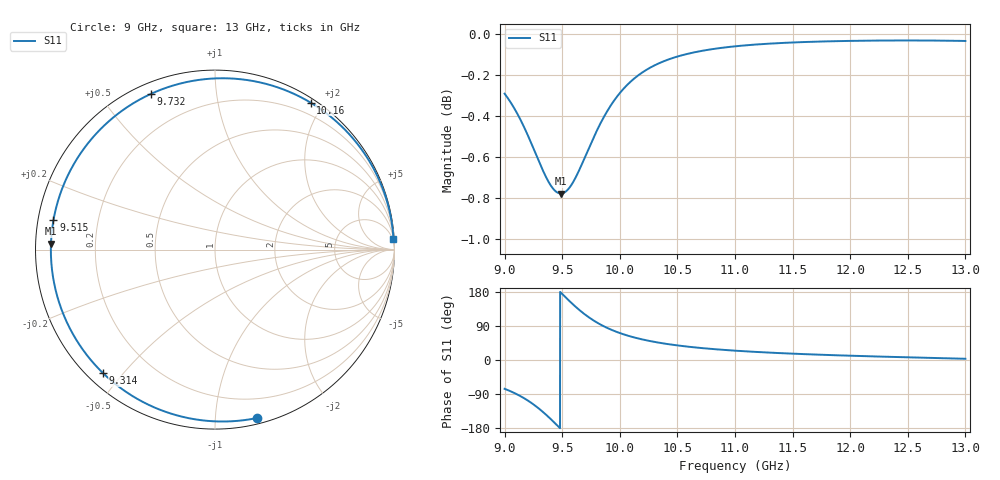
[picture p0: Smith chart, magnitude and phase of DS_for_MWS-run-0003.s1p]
! TOUCHSTONE file generated by CST DESIGN STUDIO
! Date and time: Tue Feb  4 18:20:14 2025
! Project name: C:\Work\MatlabApps\UnitCellOptimizationMatlab\CST\unitcell.cst
! Tree item: Tasks\Sweep1\SPara1\S-Parameters
! Header version: 2024
! Port assignment regex: !\s*Touchstone port\s*([0-9]+)\s*=\s*(CST MWS port|CST DES external port|CST DES block port)\s*(.+)\s* \(\"(.*)\"\)(\s*mode\s*([0-9]+))?.*
! Touchstone port assignment:
! Touchstone port 1 = CST DES external port 1 ("")
# GHz S MA R 50
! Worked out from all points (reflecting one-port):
!   4001 points, 9 GHz to 13 GHz, reference 50 ohm
!   lowest |S11| = -0.8 dB at 9.488 GHz (marker M1), VSWR 22.39, Z = 2.23 + j0.909 ohm
!   phase of S11 starts at -76 deg and turns -281 deg over the sweep
!   S11 on the Smith chart (normalised r, x): 9 GHz: 0.04, -1.28; 9.314 GHz: 0.04, -0.44; 9.515 GHz: 0.04, +0.09; 9.732 GHz: 0.05, +0.67; 10.16 GHz: 0.05, +1.84; 13 GHz: 2, +35
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9  0.967 -76.0
9.08  0.9596 -86.4
9.179  0.9478 -102.6
9.249  0.9381 -116.8
9.314  0.9288 -132.3
9.36  0.9229 -144.4
9.408  0.918 -158.1
9.449  0.9153 -170.3
9.488  0.9145 177.9
9.5  0.9146 174.3
9.515  0.9149 169.7
9.567  0.9178 154.3
9.627  0.924 137.6
9.679  0.9307 124.5
9.732  0.9381 112.5
9.786  0.9453 101.7
9.846  0.9527 91.4
9.922  0.9607 80.4
10  0.9674 71.1
10.158  0.9769 57.0
10.313  0.9828 47.1
10.5  0.9873 38.5
10.722  0.9906 31.2
11  0.993 24.6
11.5  0.9951 16.7
12  0.996 11.3
12.5  0.9963 7.1
13  0.996 3.3
